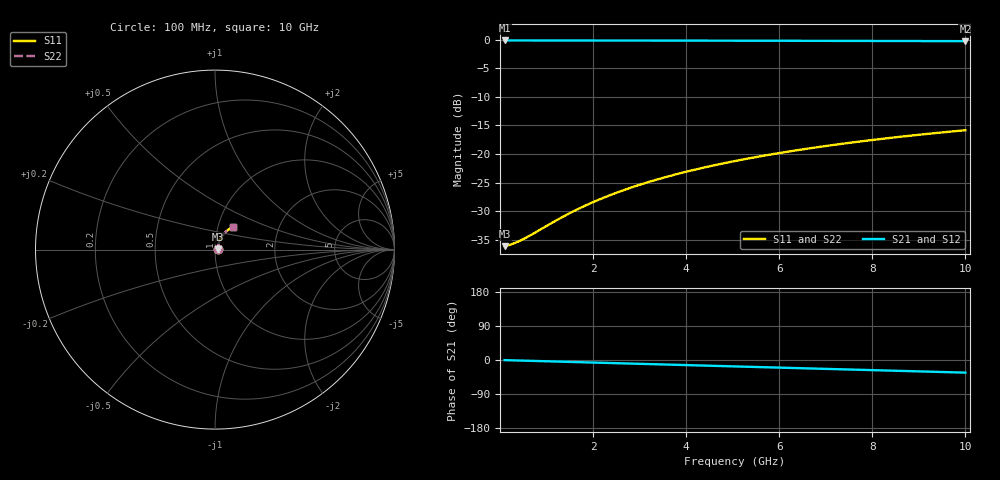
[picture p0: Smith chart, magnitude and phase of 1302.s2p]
# Hz S RI R 50.00
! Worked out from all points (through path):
!   100 points, 100 MHz to 10 GHz, reference 50 ohm
!   highest |S21| = -0.14 dB at 100 MHz (marker M1); lowest = -0.3 dB at 10 GHz (marker M2)
!   group delay of S21, straight-line fit = 9.26 ps
!   lowest |S11| = -36.1 dB at 100 MHz (marker M3), VSWR 1.03, Z = 51.6 + j0.168 ohm
!   |S11| at or under -10 dB: start of sweep to end of sweep
!   |S22| runs from -36.1 to -15.8 dB; largest |S21 - S12| = 0
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1e8  0.0155 0.00163  0.9845 -0.00578  0.9845 -0.00578  0.0155 0.00163
2e8  0.0156 0.00325  0.9843 -0.0116  0.9843 -0.0116  0.0156 0.00325
3e8  0.0158 0.00488  0.9841 -0.0173  0.9841 -0.0173  0.0158 0.00488
5e8  0.016 0.00812  0.9837 -0.0289  0.9837 -0.0289  0.016 0.00812
7e8  0.0163 0.0114  0.9832 -0.0404  0.9832 -0.0404  0.0163 0.0114
1.3e9  0.0177 0.021  0.9808 -0.0749  0.9808 -0.0749  0.0177 0.021
1.6e9  0.0186 0.0258  0.9791 -0.0922  0.9791 -0.0922  0.0186 0.0258
1.8e9  0.0193 0.029  0.9779 -0.1036  0.9779 -0.1036  0.0193 0.029
2.1e9  0.0204 0.0337  0.9757 -0.1208  0.9757 -0.1208  0.0204 0.0337
2.5e9  0.0223 0.0399  0.9722 -0.1435  0.9722 -0.1435  0.0223 0.0399
2.9e9  0.0244 0.046  0.9682 -0.1662  0.9682 -0.1662  0.0244 0.046
3.4e9  0.0274 0.0535  0.9625 -0.1943  0.9625 -0.1943  0.0274 0.0535
3.8e9  0.0301 0.0594  0.9572 -0.2167  0.9572 -0.2167  0.0301 0.0594
4.2e9  0.0331 0.0651  0.9514 -0.2389  0.9514 -0.2389  0.0331 0.0651
4.6e9  0.0364 0.0707  0.9451 -0.2609  0.9451 -0.2609  0.0364 0.0707
5.1e9  0.0408 0.0774  0.9364 -0.2881  0.9364 -0.2881  0.0408 0.0774
5.9e9  0.0487 0.0876  0.9208 -0.331  0.9208 -0.331  0.0487 0.0876
6.7e9  0.0575 0.0969  0.9032 -0.3728  0.9032 -0.3728  0.0575 0.0969
7.5e9  0.0671 0.1054  0.8836 -0.4136  0.8836 -0.4136  0.0671 0.1054
8.4e9  0.0788 0.1138  0.8593 -0.4581  0.8593 -0.4581  0.0788 0.1138
9.2e9  0.0898 0.1202  0.8359 -0.4964  0.8359 -0.4964  0.0898 0.1202
1e10  0.1013 0.1255  0.8107 -0.5332  0.8107 -0.5332  0.1013 0.1255
